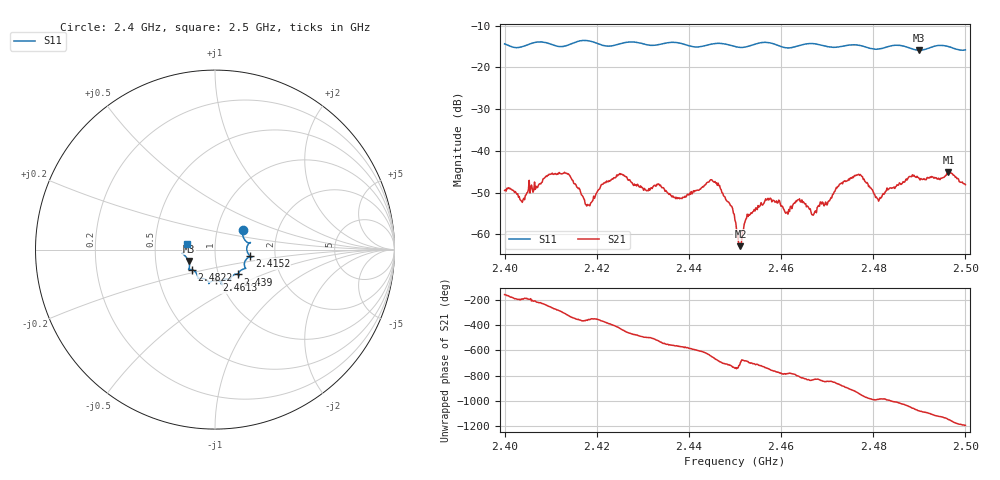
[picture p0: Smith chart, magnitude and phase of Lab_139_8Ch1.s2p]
# Hz S RI R 50
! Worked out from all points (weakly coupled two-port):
!   601 points, 2.4 GHz to 2.5 GHz, reference 50 ohm
!   highest |S21| = -45.12 dB at 2.4963 GHz (marker M1); lowest = -62.8 dB at 2.4512 GHz (marker M2)
!   lowest |S11| = -15.9 dB at 2.49 GHz (marker M3), VSWR 1.38, Z = 36.9 - j4.83 ohm
!   |S11| at or under -10 dB: start of sweep to end of sweep
!   S12 and S22 are empty: the file has one direction only
!   S11 on the Smith chart (normalised r, x): 2.4 GHz: 1.33, +0.31; 2.4152 GHz: 1.48, -0.11; 2.439 GHz: 1.24, -0.36; 2.4613 GHz: 0.96, -0.34; 2.4822 GHz: 0.76, -0.17; 2.5 GHz: 0.73, +0.05
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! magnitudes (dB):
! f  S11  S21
! 2.4 GHz  -14.4  -49.5
! 2.4038 GHz  -15.0  -52.3
! 2.4152 GHz  -14.1  -47.9
! 2.4167 GHz  -13.6  -50.5
! 2.4183 GHz  -13.7  -53.1
! 2.4252 GHz  -14.3  -45.7
! 2.4333 GHz  -14.6  -47.9
! 2.439 GHz  -14.5  -51.1
! 2.4452 GHz  -14.4  -47.2
! 2.45 GHz  -15.0  -56.6
! 2.4512 GHz  -15.2  -62.8
! 2.4527 GHz  -15.0  -55.2
! 2.457 GHz  -14.0  -51.7
! 2.4613 GHz  -15.3  -54.7
! 2.464 GHz  -14.8  -51.5
! 2.4667 GHz  -14.3  -55.3
! 2.4763 GHz  -14.6  -45.8
! 2.4822 GHz  -15.4  -50.2
! 2.4833 GHz  -15.0  -49.2
! 2.49 GHz  -15.9  -46.7
! 2.4963 GHz  -15.0  -45.1
! 2.5 GHz  -15.8  -48.1
